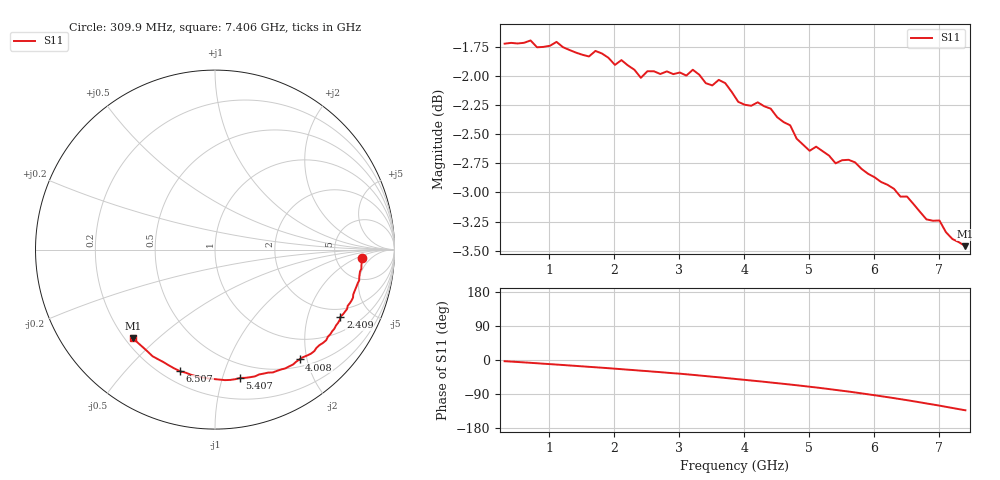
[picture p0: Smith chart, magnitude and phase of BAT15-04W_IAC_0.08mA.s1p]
! Infineon Technologies  Discrete & RF Semiconductors
! BAT15-04W-E6327
! IAC = 0.08 mA
! One-Port S-Parameters
# Hz  S  MA  R  50
!f  S11
!Hz  Mag  Ang
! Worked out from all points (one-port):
!   72 points, 309.9 MHz to 7.406 GHz, reference 50 ohm
!   lowest |S11| = -3.5 dB at 7.406 GHz (marker M1), VSWR 5.08, Z = 11.6 - j20.9 ohm
!   |S11| at or under -10 dB: nowhere
!   S11 on the Smith chart (normalised r, x): 309.9 MHz: 9.39, -2.59; 2.409 GHz: 1.61, -3.24; 4.008 GHz: 0.62, -1.87; 5.407 GHz: 0.38, -1.14; 6.507 GHz: 0.27, -0.72; 7.406 GHz: 0.23, -0.42
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3.0985e8  0.82 -3.2
7.0965e8  0.8226 -7.5
8.096e8  0.8171 -8.6
1.10945e9  0.8215 -12.1
1.2094e9  0.8172 -13.2
1.6092e9  0.8097 -18.0
1.70915e9  0.8142 -19.2
2.009e9  0.803 -22.9
2.10895e9  0.8068 -24.2
2.4088e9  0.7928 -28.2
2.50875e9  0.798 -29.4
3.0085e9  0.797 -36.1
3.2084e9  0.7992 -39.2
3.50825e9  0.7869 -44.1
3.6082e9  0.7912 -45.6
3.90805e9  0.7742 -50.8
4.008e9  0.772 -52.4
4.4078e9  0.769 -59.4
4.70765e9  0.7565 -64.8
4.8076e9  0.7466 -66.6
5.10745e9  0.7407 -72.5
5.4073e9  0.7286 -78.9
5.70715e9  0.7293 -85.6
6.2069e9  0.7133 -98.0
6.50675e9  0.7051 -106.0
6.6067e9  0.6999 -108.9
7.0065e9  0.6886 -120.3
7.4063e9  0.6713 -132.7
